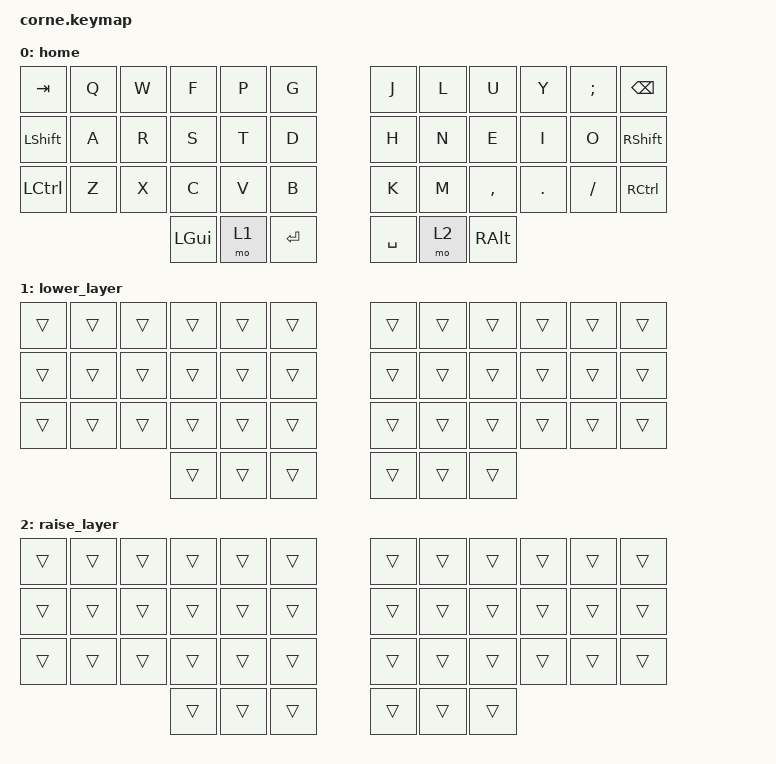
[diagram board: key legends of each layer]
#include <behaviors.dtsi>
#include <dt-bindings/zmk/keys.h>

/ {
    keymap {
        compatible = "zmk,keymap";

        home {
            bindings = <
&kp TAB         &kp Q  &kp W  &kp F         &kp P  &kp G      &kp J      &kp L  &kp U          &kp Y       &kp SEMICOLON  &kp BACKSPACE
&kp LEFT_SHIFT  &kp A  &kp R  &kp S         &kp T  &kp D      &kp H      &kp N  &kp E          &kp I       &kp O          &kp RIGHT_SHIFT
&kp LCTRL       &kp Z  &kp X  &kp C         &kp V  &kp B      &kp K      &kp M  &kp COMMA      &kp PERIOD  &kp SLASH      &kp RCTRL
                              &kp LEFT_GUI  &mo 1  &kp RET    &kp SPACE  &mo 2  &kp RIGHT_ALT
            >;
        };

        lower_layer {
            bindings = <
&trans  &trans  &trans  &trans  &trans  &trans    &trans  &trans  &trans  &trans  &trans  &trans
&trans  &trans  &trans  &trans  &trans  &trans    &trans  &trans  &trans  &trans  &trans  &trans
&trans  &trans  &trans  &trans  &trans  &trans    &trans  &trans  &trans  &trans  &trans  &trans
                        &trans  &trans  &trans    &trans  &trans  &trans
            >;
        };

        raise_layer {
            bindings = <
&trans  &trans  &trans  &trans  &trans  &trans    &trans  &trans  &trans  &trans  &trans  &trans
&trans  &trans  &trans  &trans  &trans  &trans    &trans  &trans  &trans  &trans  &trans  &trans
&trans  &trans  &trans  &trans  &trans  &trans    &trans  &trans  &trans  &trans  &trans  &trans
                        &trans  &trans  &trans    &trans  &trans  &trans
            >;
        };
    };
};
